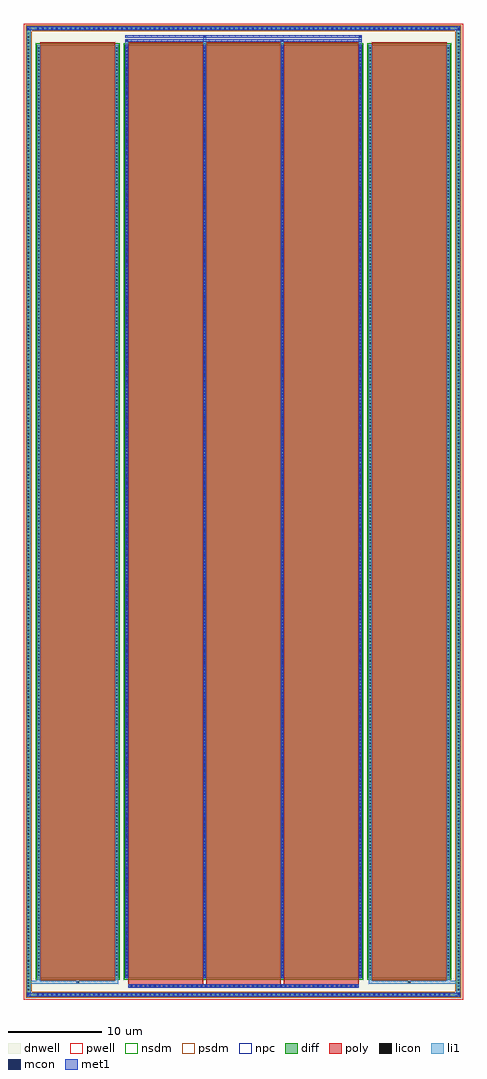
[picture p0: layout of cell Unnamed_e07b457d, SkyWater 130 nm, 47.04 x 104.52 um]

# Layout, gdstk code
import gdstk
lib = gdstk.Library(unit=1e-6, precision=5e-09)
def R(c, l, rs):  # rectangles x0, y0, x1, y1
    for r in rs: c.add(gdstk.rectangle(r[:2], r[2:], *l))
def A(c, l, x, y, w, h, nx, ny, dx, dy):  # array of equal rectangles
    R(c, l, [(x+i*dx, y+j*dy, x+i*dx+w, y+j*dy+h) for i in range(nx) for j in range(ny)])
def P(c, l, *ps):  # polygons
    for p in ps: c.add(gdstk.Polygon(p, *l))
dnwell = (64, 18)
pwell = (64, 44)
diff = (65, 20)
poly = (66, 20)
licon = (66, 44)
li1 = (67, 20)
mcon = (67, 44)
met1 = (68, 20)
nsdm = (93, 44)
psdm = (94, 20)
npc = (95, 20)

unnamed_e07b457d = lib.new_cell('Unnamed_e07b457d')
R(unnamed_e07b457d, dnwell, [(-23.52,-52.26,23.52,52.26)])
R(unnamed_e07b457d, pwell, [(-23.52,-52.26,23.52,52.26)])
A(unnamed_e07b457d, diff, -22.205, -51.95, 0.41, 0.41, 89, 2, 0.5, 103.49)
A(unnamed_e07b457d, diff, -23.21, -51.375, 0.41, 0.41, 1, 302, 0, 0.34)
A(unnamed_e07b457d, diff, 22.8, -51.375, 0.41, 0.41, 1, 302, 0, 0.34)
R(unnamed_e07b457d, diff, [(-22.205,-51.95,22.205,-51.54), (-23.21,-51.375,-22.8,51.375), (22.8,-51.375,23.21,51.375), (-22.14,-50,-13.36,50), (-12.72,-50,12.72,50), (13.36,-50,22.14,50), (-22.205,51.54,22.205,51.95)])
P(unnamed_e07b457d, diff, [(23.21,51.95),(-23.21,51.95),(-23.21,-51.54),(-22.8,-51.54),(-22.8,51.54),(22.8,51.54),(22.8,-51.54),(-22.8,-51.54),(-23.21,-51.54),(-23.21,-51.95),(23.21,-51.95)])
A(unnamed_e07b457d, poly, -12.165, -50.98, 0.33, 0.33, 49, 1, 0.5, 0)
A(unnamed_e07b457d, poly, -12.33, -50.65, 8, 0.4, 3, 1, 8.33, 0)
A(unnamed_e07b457d, poly, -12.33, -50.25, 8, 100.5, 3, 1, 8.33, 0)
R(unnamed_e07b457d, poly, [(-12.33,-50.98,12.33,-50.65), (-17.915,-50.58,-17.585,-50.25), (-17.915,-50.58,-17.585,-50.25), (17.585,-50.58,17.915,-50.25), (17.585,-50.58,17.915,-50.25), (-21.75,-50.25,-13.75,50.25), (13.75,-50.25,21.75,50.25)])
A(unnamed_e07b457d, licon, -22.085, -51.83, 0.17, 0.17, 89, 2, 0.5, 103.49)
A(unnamed_e07b457d, licon, -23.09, -51.255, 0.17, 0.17, 1, 302, 0, 0.34)
A(unnamed_e07b457d, licon, 22.92, -51.255, 0.17, 0.17, 1, 302, 0, 0.34)
A(unnamed_e07b457d, licon, -12.085, -50.9, 0.17, 0.17, 49, 1, 0.5, 0)
A(unnamed_e07b457d, licon, -22, -49.725, 0.17, 0.17, 1, 293, 0, 0.34)
A(unnamed_e07b457d, licon, -13.67, -49.725, 0.17, 0.17, 1, 293, 0, 0.34)
A(unnamed_e07b457d, licon, -12.58, -49.725, 0.17, 0.17, 4, 293, 8.33, 0.34)
A(unnamed_e07b457d, licon, 13.5, -49.725, 0.17, 0.17, 1, 293, 0, 0.34)
A(unnamed_e07b457d, licon, 21.83, -49.725, 0.17, 0.17, 1, 293, 0, 0.34)
R(unnamed_e07b457d, licon, [(-17.835,-50.5,-17.665,-50.33), (17.665,-50.5,17.835,-50.33)])
A(unnamed_e07b457d, li1, -22.165, -51.91, 0.33, 0.33, 89, 2, 0.5, 103.49)
A(unnamed_e07b457d, li1, -23.17, -51.335, 0.33, 0.33, 1, 302, 0, 0.34)
A(unnamed_e07b457d, li1, 22.84, -51.335, 0.33, 0.33, 1, 302, 0, 0.34)
A(unnamed_e07b457d, li1, -12.165, -50.98, 0.33, 0.33, 49, 1, 0.5, 0)
A(unnamed_e07b457d, li1, -12.66, -50, 0.33, 100, 4, 1, 8.33, 0)
A(unnamed_e07b457d, li1, -22.08, -49.805, 0.33, 0.33, 1, 293, 0, 0.34)
A(unnamed_e07b457d, li1, -13.75, -49.805, 0.33, 0.33, 1, 293, 0, 0.34)
A(unnamed_e07b457d, li1, -12.66, -49.805, 0.33, 0.33, 4, 293, 8.33, 0.34)
A(unnamed_e07b457d, li1, 13.42, -49.805, 0.33, 0.33, 1, 293, 0, 0.34)
A(unnamed_e07b457d, li1, 21.75, -49.805, 0.33, 0.33, 1, 293, 0, 0.34)
A(unnamed_e07b457d, li1, -12.58, -49.765, 0.17, 0.17, 4, 277, 8.33, 0.36)
A(unnamed_e07b457d, li1, -12.58, -49.765, 0.17, 99.53, 4, 1, 8.33, 0)
R(unnamed_e07b457d, li1, [(-23.21,-51.95,-22.8,-51.54), (22.8,-51.95,23.21,-51.54), (-22.165,-51.91,22.165,-51.58), (-23.09,-51.83,-22.92,-51.66), (-23.09,-51.83,-22.92,-51.66), (22.92,-51.83,23.09,-51.66), (22.92,-51.83,23.09,-51.66), (-23.21,-51.54,-22.8,51.54), (22.8,-51.54,23.21,51.54), (-23.21,-50.58,-17.915,-50.25), (-22.08,-50.58,-17.915,-50.25), (-22.08,-50.58,-21.75,-50), (-17.915,-50.58,-17.585,-50.25), (-17.585,-50.58,-13.42,-50.25), (-13.75,-50.58,-13.42,-50), (13.42,-50.58,17.585,-50.25), (13.42,-50.58,13.75,-50), (17.585,-50.58,17.915,-50.25), (17.585,-50.58,23.21,-50.25), (17.915,-50.58,22.08,-50.25), (21.75,-50.58,22.08,-50), (-22.08,-50,-21.75,50), (-13.75,-50,-13.42,50), (13.42,-50,13.75,50), (21.75,-50,22.08,50), (-12.66,50,-12.33,50.515), (-4.33,50,-4,50.945), (4,50,4.33,50.515), (12.33,50,12.66,50.945), (-12.58,50.345,-12.41,50.515), (4.08,50.345,4.25,50.515), (-4.25,50.775,-4.08,50.945), (12.41,50.775,12.58,50.945), (-23.21,51.54,-22.8,51.95), (22.8,51.54,23.21,51.95), (-22.165,51.58,22.165,51.91), (-23.09,51.66,-22.92,51.83), (-23.09,51.66,-22.92,51.83), (22.92,51.66,23.09,51.83), (22.92,51.66,23.09,51.83)])
A(unnamed_e07b457d, mcon, -22.085, -51.83, 0.17, 0.17, 89, 2, 0.5, 103.49)
A(unnamed_e07b457d, mcon, -12.085, -50.9, 0.17, 0.17, 49, 1, 0.5, 0)
A(unnamed_e07b457d, mcon, -12.58, -49.765, 0.17, 0.17, 4, 277, 8.33, 0.36)
R(unnamed_e07b457d, mcon, [(-23.09,-51.83,-22.92,-51.66), (22.92,-51.83,23.09,-51.66), (-12.58,50.345,-12.41,50.515), (4.08,50.345,4.25,50.515), (-4.25,50.775,-4.08,50.945), (12.41,50.775,12.58,50.945), (-23.09,51.66,-22.92,51.83), (22.92,51.66,23.09,51.83)])
A(unnamed_e07b457d, met1, -22.145, -51.89, 0.29, 0.29, 89, 2, 0.5, 103.49)
A(unnamed_e07b457d, met1, -12.145, -50.96, 0.29, 0.29, 49, 1, 0.5, 0)
A(unnamed_e07b457d, met1, -12.64, -50, 0.29, 100, 4, 1, 8.33, 0)
A(unnamed_e07b457d, met1, -12.64, -49.825, 0.29, 0.29, 4, 277, 8.33, 0.36)
R(unnamed_e07b457d, met1, [(-23.21,-51.95,-22.8,-51.54), (-23.21,-51.95,-22.8,-51.54), (-22.8,-51.95,22.8,-51.54), (22.8,-51.95,23.21,-51.54), (22.8,-51.95,23.21,-51.54), (-23.15,-51.89,-22.86,-51.6), (22.86,-51.89,23.15,-51.6), (-12.33,-50.98,12.33,-50.65), (-12.64,50.285,-12.35,50.575), (-12.64,50.285,12.64,50.575), (4.02,50.285,4.31,50.575), (-12.64,50.715,12.64,51.005), (-4.31,50.715,-4.02,51.005), (12.35,50.715,12.64,51.005), (-23.21,51.54,-22.8,51.95), (-23.21,51.54,-22.8,51.95), (-22.8,51.54,22.8,51.95), (22.8,51.54,23.21,51.95), (22.8,51.54,23.21,51.95), (-23.15,51.6,-22.86,51.89), (22.86,51.6,23.15,51.89)])
R(unnamed_e07b457d, nsdm, [(-22.27,-50.13,-13.23,50.13), (-12.85,-50.13,12.85,50.13), (13.23,-50.13,22.27,50.13)])
P(unnamed_e07b457d, psdm, [(23.34,52.08),(-23.34,52.08),(-23.34,-51.41),(-22.67,-51.41),(-22.67,51.41),(22.67,51.41),(22.67,-51.41),(-22.67,-51.41),(-23.34,-51.41),(-23.34,-52.08),(23.34,-52.08)])
A(unnamed_e07b457d, npc, -12.185, -51, 0.37, 0.37, 49, 1, 0.5, 0)
R(unnamed_e07b457d, npc, [(-12.185,-51,-11.315,-50.63), (-12.185,-51,-11.315,-50.63), (-11.685,-51,-10.815,-50.63), (-11.685,-51,-10.815,-50.63), (-11.185,-51,-10.315,-50.63), (-11.185,-51,-10.315,-50.63), (-10.685,-51,-9.815,-50.63), (-10.685,-51,-9.815,-50.63), (-10.185,-51,-9.315,-50.63), (-10.185,-51,-9.315,-50.63), (-9.685,-51,-8.815,-50.63), (-9.685,-51,-8.815,-50.63), (-9.185,-51,-8.315,-50.63), (-9.185,-51,-8.315,-50.63), (-8.685,-51,-7.815,-50.63), (-8.685,-51,-7.815,-50.63), (-8.185,-51,-7.315,-50.63), (-8.185,-51,-7.315,-50.63), (-7.685,-51,-6.815,-50.63), (-7.685,-51,-6.815,-50.63), (-7.185,-51,-6.315,-50.63), (-7.185,-51,-6.315,-50.63), (-6.685,-51,-5.815,-50.63), (-6.685,-51,-5.815,-50.63), (-6.185,-51,-5.315,-50.63), (-6.185,-51,-5.315,-50.63), (-5.685,-51,-4.815,-50.63), (-5.685,-51,-4.815,-50.63), (-5.185,-51,-4.315,-50.63), (-5.185,-51,-4.315,-50.63), (-4.685,-51,-3.815,-50.63), (-4.685,-51,-3.815,-50.63), (-4.185,-51,-3.315,-50.63), (-4.185,-51,-3.315,-50.63), (-3.685,-51,-2.815,-50.63), (-3.685,-51,-2.815,-50.63), (-3.185,-51,-2.315,-50.63), (-3.185,-51,-2.315,-50.63), (-2.685,-51,-1.815,-50.63), (-2.685,-51,-1.815,-50.63), (-2.185,-51,-1.315,-50.63), (-2.185,-51,-1.315,-50.63), (-1.685,-51,-0.815,-50.63), (-1.685,-51,-0.815,-50.63), (-1.185,-51,-0.315,-50.63), (-1.185,-51,-0.315,-50.63), (-0.685,-51,0.185,-50.63), (-0.685,-51,0.185,-50.63), (-0.185,-51,0.685,-50.63), (-0.185,-51,0.685,-50.63), (0.315,-51,1.185,-50.63), (0.315,-51,1.185,-50.63), (0.815,-51,1.685,-50.63), (0.815,-51,1.685,-50.63), (1.315,-51,2.185,-50.63), (1.315,-51,2.185,-50.63), (1.815,-51,2.685,-50.63), (1.815,-51,2.685,-50.63), (2.315,-51,3.185,-50.63), (2.315,-51,3.185,-50.63), (2.815,-51,3.685,-50.63), (2.815,-51,3.685,-50.63), (3.315,-51,4.185,-50.63), (3.315,-51,4.185,-50.63), (3.815,-51,4.685,-50.63), (3.815,-51,4.685,-50.63), (4.315,-51,5.185,-50.63), (4.315,-51,5.185,-50.63), (4.815,-51,5.685,-50.63), (4.815,-51,5.685,-50.63), (5.315,-51,6.185,-50.63), (5.315,-51,6.185,-50.63), (5.815,-51,6.685,-50.63), (5.815,-51,6.685,-50.63), (6.315,-51,7.185,-50.63), (6.315,-51,7.185,-50.63), (6.815,-51,7.685,-50.63), (6.815,-51,7.685,-50.63), (7.315,-51,8.185,-50.63), (7.315,-51,8.185,-50.63), (7.815,-51,8.685,-50.63), (7.815,-51,8.685,-50.63), (8.315,-51,9.185,-50.63), (8.315,-51,9.185,-50.63), (8.815,-51,9.685,-50.63), (8.815,-51,9.685,-50.63), (9.315,-51,10.185,-50.63), (9.315,-51,10.185,-50.63), (9.815,-51,10.685,-50.63), (9.815,-51,10.685,-50.63), (10.315,-51,11.185,-50.63), (10.315,-51,11.185,-50.63), (10.815,-51,11.685,-50.63), (10.815,-51,11.685,-50.63), (11.315,-51,12.185,-50.63), (11.315,-51,12.185,-50.63), (-17.935,-50.6,-17.565,-50.23), (17.565,-50.6,17.935,-50.23)])

lib.write_gds('Unnamed_e07b457d.gds')
